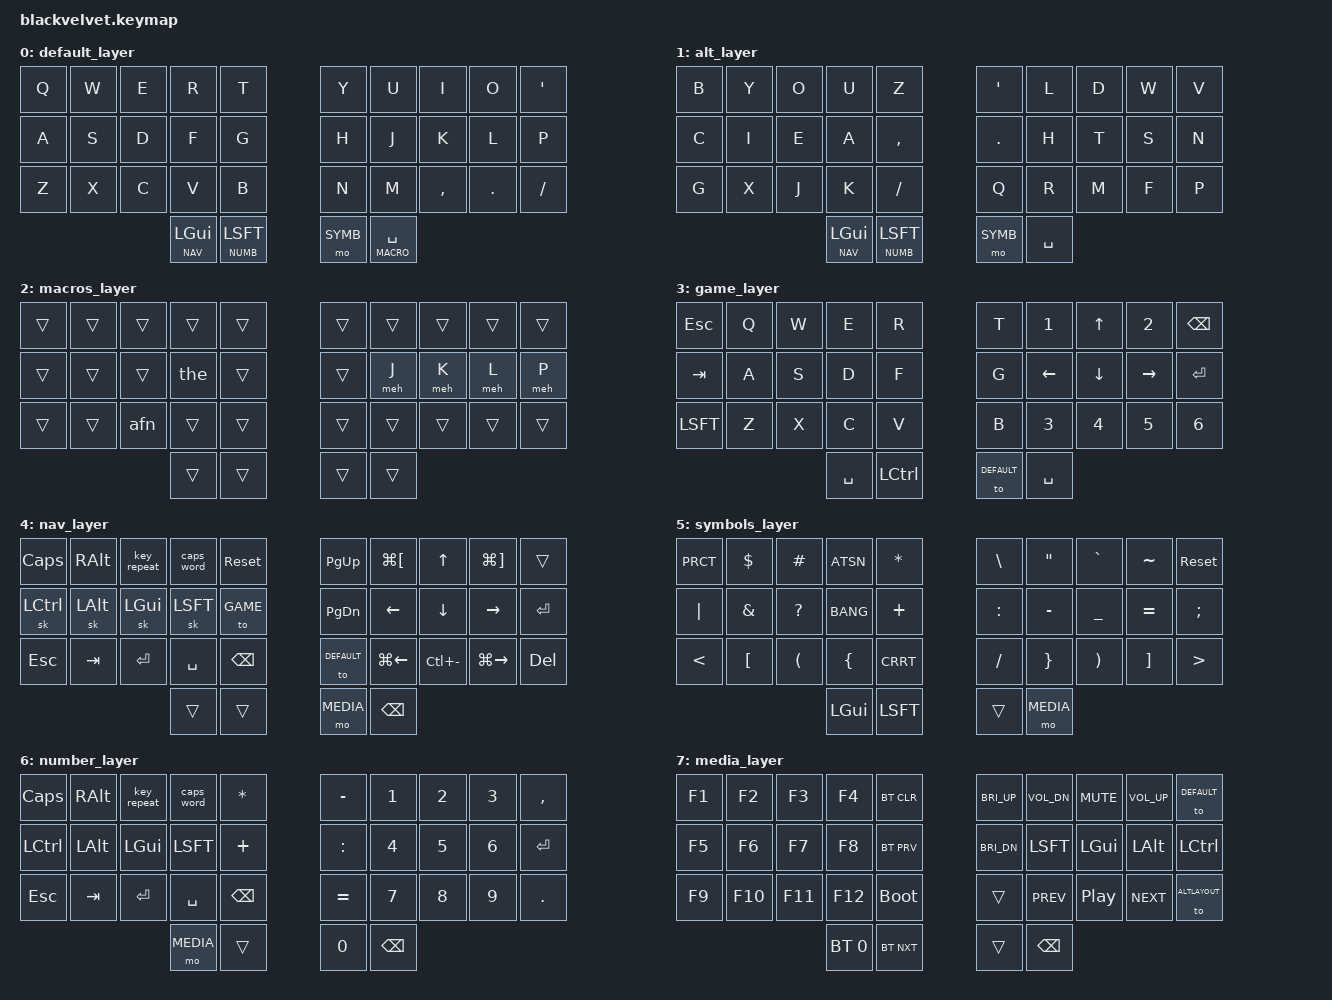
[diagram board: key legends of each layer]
/*
 * Copyright (c) 2020 The ZMK Contributors
 *
 * SPDX-License-Identifier: MIT
 */

#include <behaviors.dtsi>
#include <dt-bindings/zmk/keys.h>
#include <dt-bindings/zmk/bt.h>
// #include <dt-bindings/zmk/mouse.h>

#define DEFAULT 0
#define ALTLAYOUT 1
#define MACRO 2
#define GAME 3
#define NAV 4
#define SYMB 5
#define NUMB 6
#define MEDIA 7
// #define MOUSE 8

&sk {
  release-after-ms = <500>;
  quick-release;
};

&sl {
  release-after-ms = <500>;
};

// &mmv {
//     time-to-max-speed-ms = <1000>;
//     acceleration-exponent=<1>;
// };

// &mwh {
//     time-to-max-speed-ms = <1000>;
//     acceleration-exponent=<1>;
// };

/ { 

  combos {
      compatible = "zmk,combos";
      combo_esc {
          timeout-ms = <50>;
          key-positions = <32 33>;
          bindings = <&kp ESC>;
      };
      combo_tab {
          timeout-ms = <50>;
          key-positions = <30 31>;
          bindings = <&kp TAB>;
      };
  };

  behaviors {
    ml: mod_layer {
      compatible = "zmk,behavior-hold-tap";
      label = "MOD_LAYER";
      #binding-cells = <2>;
      flavor = "hold-preferred";
      tapping-term-ms = <150>;
      bindings = <&mo>, <&sk>;
    };
    mo_tog: behavior_mo_tog {
      compatible = "zmk,behavior-hold-tap";
      label = "mo_tog";
      #binding-cells = <2>;
      flavor = "hold-preferred";
      tapping-term-ms = <200>;
      bindings = <&mo>, <&tog>;
    };
    tlt: tap_layer_tap {
      compatible = "zmk,behavior-hold-tap";
      label = "tap_lt";
      #binding-cells = <2>;
      flavor = "tap-preferred";
      tapping-term-ms = <200>;
      bindings = <&mo>, <&kp>;
    };
    // mouse_l: mouse_left {
    //   compatible = "zmk,behavior-mod-morph";
    //   label = "MOUSE_LEFT";
    //   #binding-cells = <0>;
    //   bindings = <&mmv MOVE_HOR(-5000)>, <&mmv MOVE_HOR(-2000)>;
    //   mods = <(MOD_LSFT|MOD_RSFT)>;
    // };
    // mouse_r: mouse_right {
    //   compatible = "zmk,behavior-mod-morph";
    //   label = "MOUSE_RIGHT";
    //   #binding-cells = <0>;
    //   bindings = <&mmv MOVE_HOR(5000)>, <&mmv MOVE_HOR(2000)>;
    //   mods = <(MOD_LSFT|MOD_RSFT)>;
    // };
    // mouse_u: mouse_up {
    //   compatible = "zmk,behavior-mod-morph";
    //   label = "MOUSE_UP";
    //   #binding-cells = <0>;
    //   bindings = <&mmv MOVE_VERT(-5000)>, <&mmv MOVE_VERT(-2000)>;
    //   mods = <(MOD_LSFT|MOD_RSFT)>;
    // };
    // mouse_d: mouse_down {
    //   compatible = "zmk,behavior-mod-morph";
    //   label = "MOUSE_DOWN";
    //   #binding-cells = <0>;
    //   bindings = <&mmv MOVE_VERT(5000)>, <&mmv MOVE_VERT(2000)>;
    //   mods = <(MOD_LSFT|MOD_RSFT)>;
    // };
  };

  macros {
      meh: meh {
          label = "meh";
          compatible = "zmk,behavior-macro-one-param";
          #binding-cells = <1>;
          wait-ms = <0>;
          tap-ms = <0>;
          bindings
              = <&macro_press &kp LSHFT &kp LGUI &kp LALT>,
                <&macro_param_1to1>,
                <&macro_tap &kp 0>,
                <&macro_release &kp LSHFT &kp LGUI &kp LALT>
              ;
      };
      the: the {
          label = "mac_the";
          compatible = "zmk,behavior-macro";
          #binding-cells = <0>;
          wait-ms = <0>;
          tap-ms = <0>;
          bindings
              = <&kp T &kp H &kp E>
              ;
      };
      afn: afn {
          label = "mac_arrow_function";
          compatible = "zmk,behavior-macro";
          #binding-cells = <0>;
          wait-ms = <0>;
          tap-ms = <0>;
          bindings
              = <&kp LPAR &kp RPAR &kp SPC &kp EQUAL &kp GT &kp SPC &kp LBRC>
              ;
      };
  };

  keymap {
    compatible = "zmk,keymap";

    default_layer {
      bindings = <
        &kp Q  &kp W  &kp E  &kp R  &kp T           &kp Y  &kp U  &kp I  &kp O  &kp QUOT 
        &kp A  &kp S  &kp D  &kp F  &kp G           &kp H  &kp J  &kp K  &kp L  &kp P
        &kp Z  &kp X  &kp C  &kp V  &kp B           &kp N  &kp M  &kp CMMA  &kp DOT  &kp FSLH
              &ml NAV LGUI  &ml NUMB LSFT           &mo SYMB  &lt MACRO SPC
      >;
      // sensor-bindings = <&inc_dec_kp C_VOL_UP C_VOL_DN>;
    };

    // engram
    alt_layer {
      bindings = <
        &kp B  &kp Y  &kp O  &kp U  &kp Z              &kp QUOT  &kp L  &kp D  &kp W  &kp V 
        &kp C  &kp I  &kp E  &kp A  &kp CMMA           &kp DOT  &kp H  &kp T  &kp S  &kp N
        &kp G  &kp X  &kp J  &kp K  &kp FSLH           &kp Q  &kp R  &kp M  &kp F  &kp P
             &ml NAV LGUI  &ml NUMB LSFT               &mo SYMB  &kp SPC
      >;
    };

    macros_layer {
      bindings = <
        &trans  &trans  &trans  &trans  &trans       &trans  &trans  &trans  &trans  &trans
        &trans  &trans  &trans  &the  &trans         &trans  &meh J  &meh K  &meh L  &meh P
        &trans  &trans  &afn  &trans  &trans         &trans  &trans  &trans  &trans  &trans
                                &trans  &trans       &trans  &trans
      >;
    };

    game_layer {
      bindings = <
        &kp ESC  &kp Q  &kp W  &kp E  &kp R             &kp T  &kp N1  &kp UP  &kp N2  &kp BKSP 
        &kp TAB  &kp A  &kp S  &kp D  &kp F             &kp G  &kp LEFT  &kp DOWN  &kp RIGHT  &kp ENTER
        &kp LSFT  &kp Z  &kp X  &kp C  &kp V            &kp B  &kp N3  &kp N4  &kp N5  &kp N6
                          &kp SPC  &kp LCTL             &to DEFAULT  &kp SPC
        >;
    };

    nav_layer {
      bindings = <
        &kp CAPS  &kp RALT  &key_repeat  &caps_word  &sys_reset     &kp PG_UP  &kp LG(LBKT)  &kp UP  &kp LG(RBKT)  &trans 
        &sk LCTL  &sk LALT  &sk LGUI  &sk LSFT  &to GAME            &kp PG_DN  &kp LEFT  &kp DOWN  &kp RIGHT  &kp ENTER
        &kp ESC  &kp TAB  &kp ENTER  &kp SPC  &kp BKSP              &to DEFAULT  &kp LG(LEFT)  &kp LC(MINUS)  &kp LG(RIGHT)  &kp DEL 
                                        &trans  &trans              &mo MEDIA  &kp BKSP
      >;
    };
      
    symbols_layer {
      bindings = <
        &kp PRCT  &kp DLLR  &kp HASH  &kp ATSN  &kp STAR        &kp BSLH  &kp DQT &kp GRAV &kp TILDE &sys_reset
        &kp PIPE  &kp AMPS  &kp QMARK  &kp BANG  &kp PLUS       &kp COLON  &kp MINUS  &kp UNDER  &kp EQUAL  &kp SEMI
        &kp LT  &kp LBKT  &kp LPAR  &kp LBRC  &kp CRRT          &kp FSLH  &kp RBRC  &kp RPAR  &kp RBKT  &kp GT
                                    &kp LGUI  &kp LSFT          &trans  &mo MEDIA 
      >;
    };	

    number_layer {
      bindings = <
        &kp CAPS  &kp RALT  &key_repeat  &caps_word  &kp STAR       &kp MINUS  &kp N1  &kp N2  &kp N3  &kp CMMA
        &kp LCTL  &kp LALT  &kp LGUI  &kp LSFT  &kp PLUS            &kp COLON  &kp N4  &kp N5  &kp N6  &kp ENTER 
        &kp ESC  &kp TAB  &kp ENTER  &kp SPC  &kp BKSP              &kp EQUAL  &kp N7  &kp N8  &kp N9  &kp DOT   
                                        &mo MEDIA  &trans           &kp N0 &kp BKSP
      >;
    };

    media_layer {
      bindings = <
        &kp F1  &kp F2  &kp F3  &kp F4  &bt BT_CLR            &kp C_BRI_UP  &kp C_VOL_DN  &kp C_MUTE  &kp C_VOL_UP  &to DEFAULT
        &kp F5  &kp F6  &kp F7  &kp F8  &bt BT_PRV            &kp C_BRI_DN  &kp LSFT  &kp LGUI  &kp LALT  &kp LCTL 
        &kp F9  &kp F10  &kp F11  &kp F12  &bootloader        &trans  &kp C_PREV  &kp C_PP  &kp C_NEXT  &to ALTLAYOUT   
                                &bt BT_SEL 0 &bt BT_NXT       &trans &kp BKSP
      >;
    };

    // mouse_layer {
    //   bindings = <
    //     &tog  MOUSE  &kp RALT  &kp LC(LEFT)  &kp LC(RIGHT)  &kp LC(UP)        &kp PG_UP  &mwh SCROLL_VERT(-40)  &mouse_u  &mkp MCLK  &mkp MB5 
    //     &kp LCTL  &kp LALT  &kp LGUI  &kp LSFT  &kp SPC                       &kp PG_DN  &mouse_l  &mouse_d  &mouse_r  &tog MOUSE
    //     &kp ESC  &kp LC(DOWN)  &kp LG(C)  &kp LG(V)  &kp BKSP                 &kp LC(UP)  &mwh SCROLL_VERT(40)  &mwh SCROLL_HOR(40)  &mwh SCROLL_HOR(-40)  &mkp MB4 
    //                                 &trans  &trans                            &mkp RCLK  &mkp LCLK
    //   >;
    // };

    // dsthk v2
    // alt_layer {
    //   bindings = <
    //     &kp B  &kp C  &kp Y  &kp F  &kp Q           &kp Z  &kp M  &kp QUOT  &kp X  &kp FSLH 
    //     &kp R  &kp S  &kp T  &kp H  &kp K           &kp V  &kp N  &kp I  &kp A  &kp O
    // &tlt MOUSE W  &kp G  &kp P  &kp D  &sk LGUI       &kp J  &kp L  &kp U  &kp CMMA  &kp DOT
    //                   &lt NAV E  &ml NUMB LSFT      &mo SYMB  &kp SPC
    //   >;
    // };
    
    // hands down gold
    //    alt_layer {
    //      bindings = <
    //        &kp J  &kp G  &kp M  &kp P  &kp V           &kp Z  &kp DOT  &kp QUOT  &kp Q  &kp FSLH 
    //        &kp R  &kp S  &kp N  &kp D  &kp B           &kp CMMA  &kp A  &kp E  &kp I  &kp H
    //  &tlt MOUSE X  &kp F  &kp L  &kp C  &kp W          &sk LGUI  &kp U  &kp O  &kp Y  &kp K
    //              &lt NAV T  &ml NUMB LSFT              &mo SYMB  &kp SPC
    //      >;
    //    };
  };
};
